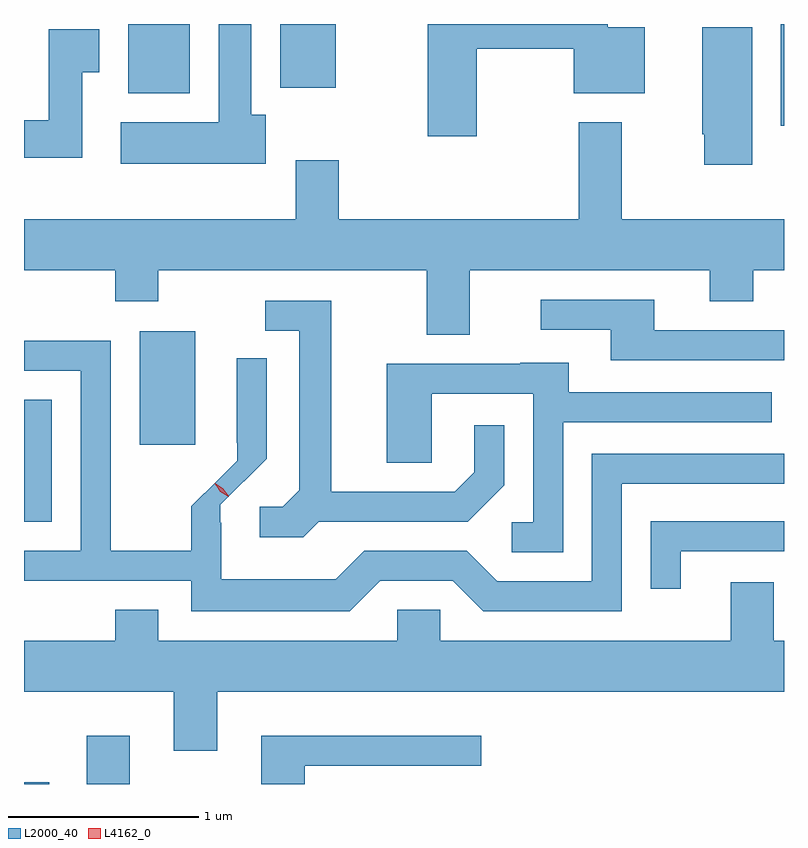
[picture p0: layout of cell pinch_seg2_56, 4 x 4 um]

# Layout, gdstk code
import gdstk
lib = gdstk.Library(unit=1e-6, precision=1e-09)
def R(c, l, rs):  # rectangles x0, y0, x1, y1
    for r in rs: c.add(gdstk.rectangle(r[:2], r[2:], *l))
def P(c, l, *ps):  # polygons
    for p in ps: c.add(gdstk.Polygon(p, *l))
L2000_40 = (2000, 40)
L4162_0 = (4162, 0)

pinch_seg2_56 = lib.new_cell('pinch_seg2_56')
R(pinch_seg2_56, L2000_40, [(1120.752,1030.071,1120.884,1030.079), (1121.081,1030.071,1121.309,1030.324), (1120.752,1031.451,1120.899,1032.094), (1121.361,1031.856,1121.654,1032.454), (1124.736,1033.536,1124.752,1034.071), (1121.301,1033.706,1121.624,1034.071), (1122.101,1033.736,1122.394,1034.071)])
P(pinch_seg2_56, L2000_40, [(1122.024,1033.594),(1121.949,1033.594),(1121.949,1034.071),(1121.776,1034.071),(1121.776,1033.554),(1121.261,1033.554),(1121.261,1033.336),(1122.024,1033.336)],
  [(1123.134,1033.941),(1123.646,1033.941),(1123.646,1033.706),(1124.019,1033.706),(1124.019,1034.054),(1123.824,1034.054),(1123.824,1034.071),(1122.876,1034.071),(1122.876,1033.481),(1123.134,1033.481)],
  [(1124.584,1034.054),(1124.321,1034.054),(1124.321,1033.49),(1124.331,1033.49),(1124.331,1033.331),(1124.584,1033.331)],
  [(1121.059,1033.816),(1121.149,1033.816),(1121.149,1034.044),(1120.881,1034.044),(1120.881,1033.564),(1120.752,1033.564),(1120.752,1033.366),(1121.059,1033.366)],
  [(1123.099,1032.776),(1124.361,1032.776),(1124.361,1032.611),(1124.589,1032.611),(1124.589,1032.776),(1124.752,1032.776),(1124.752,1033.044),(1123.899,1033.044),(1123.899,1033.554),(1123.671,1033.554),(1123.671,1033.044),(1122.409,1033.044),(1122.409,1033.354),(1122.181,1033.354),(1122.181,1033.044),(1120.752,1033.044),(1120.752,1032.776),(1121.231,1032.776),(1121.231,1032.611),(1121.459,1032.611),(1121.459,1032.776),(1122.871,1032.776),(1122.871,1032.436),(1123.099,1032.436)],
  [(1124.752,1032.459),(1124.069,1032.459),(1124.069,1032.619),(1123.473,1032.619),(1123.473,1032.461),(1123.841,1032.461),(1123.841,1032.301),(1124.752,1032.301)],
  [(1122.302,1031.451),(1123.087,1031.451),(1123.279,1031.644),(1123.279,1031.958),(1123.121,1031.958),(1123.121,1031.712),(1123.019,1031.609),(1122.369,1031.609),(1122.369,1032.614),(1122.023,1032.614),(1122.023,1032.456),(1122.201,1032.456),(1122.201,1031.617),(1122.114,1031.529),(1121.993,1031.529),(1121.993,1031.371),(1122.222,1031.371)],
  [(1122.627,1031.141),(1123.009,1031.141),(1123.169,1030.981),(1123.899,1030.981),(1123.899,1031.651),(1124.752,1031.651),(1124.752,1031.809),(1123.741,1031.809),(1123.741,1031.139),(1123.242,1031.139),(1123.082,1031.299),(1122.544,1031.299),(1122.394,1031.149),(1121.789,1031.149),(1121.789,1031.445),(1121.785,1031.445),(1121.785,1031.54),(1122.029,1031.784),(1122.029,1032.313),(1121.871,1032.313),(1121.871,1031.867),(1121.874,1031.867),(1121.874,1031.772),(1121.703,1031.601),(1121.701,1031.602),(1121.631,1031.532),(1121.631,1031.299),(1121.209,1031.299),(1121.209,1032.404),(1120.752,1032.404),(1120.752,1032.246),(1121.051,1032.246),(1121.051,1031.299),(1120.752,1031.299),(1120.752,1031.141),(1121.631,1031.141),(1121.631,1030.981),(1122.467,1030.981)],
  [(1123.589,1031.976),(1124.688,1031.976),(1124.688,1032.134),(1123.619,1032.134),(1123.619,1032.289),(1123.365,1032.289),(1123.365,1032.284),(1122.661,1032.284),(1122.661,1031.761),(1122.899,1031.761),(1122.899,1032.126),(1123.431,1032.126),(1123.431,1031.449),(1123.318,1031.449),(1123.318,1031.291),(1123.589,1031.291)],
  [(1124.209,1031.296),(1124.752,1031.296),(1124.752,1031.454),(1124.051,1031.454),(1124.051,1031.098),(1124.209,1031.098)],
  [(1121.769,1030.556),(1124.752,1030.556),(1124.752,1030.824),(1124.699,1030.824),(1124.699,1031.134),(1124.471,1031.134),(1124.471,1030.824),(1122.944,1030.824),(1122.944,1030.989),(1122.716,1030.989),(1122.716,1030.824),(1121.459,1030.824),(1121.459,1030.989),(1121.231,1030.989),(1121.231,1030.824),(1120.752,1030.824),(1120.752,1030.556),(1121.541,1030.556),(1121.541,1030.246),(1121.769,1030.246)],
  [(1122.229,1030.166),(1123.158,1030.166),(1123.158,1030.324),(1122.001,1030.324),(1122.001,1030.071),(1122.229,1030.071)])
P(pinch_seg2_56, L4162_0, [(1121.829,1031.584),(1121.787,1031.611),(1121.757,1031.652),(1121.757,1031.653),(1121.758,1031.653),(1121.8,1031.626),(1121.83,1031.585),(1121.83,1031.584)],
  [(1121.824,1031.586),(1121.786,1031.61),(1121.76,1031.647),(1121.76,1031.648),(1121.76,1031.648),(1121.799,1031.624),(1121.825,1031.587),(1121.825,1031.586)])

lib.write_gds('pinch_seg2_56.gds')
